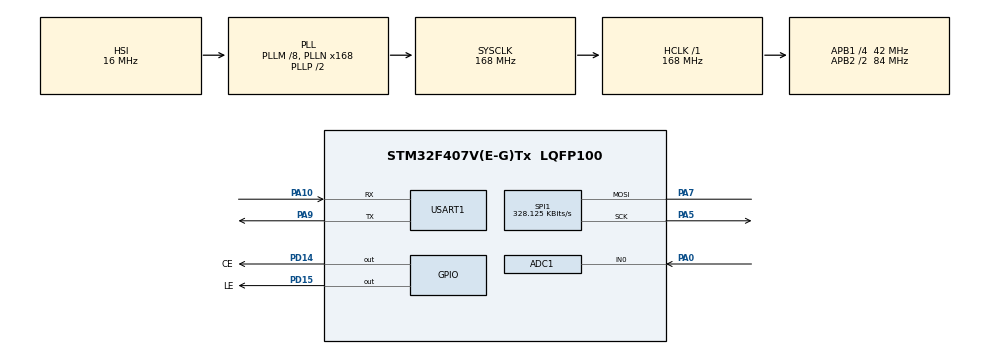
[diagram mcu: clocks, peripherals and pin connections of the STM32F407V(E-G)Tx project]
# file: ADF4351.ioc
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ADC1.Channel-0\#ChannelRegularConversion=ADC_CHANNEL_0
ADC1.ContinuousConvMode=ENABLE
ADC1.DMAContinuousRequests=DISABLE
ADC1.NbrOfConversionFlag=1
ADC1.Rank-0\#ChannelRegularConversion=1
ADC1.SamplingTime-0\#ChannelRegularConversion=ADC_SAMPLETIME_3CYCLES
ADC1.master=1
Dma.ADC1.0.Direction=DMA_PERIPH_TO_MEMORY
Dma.ADC1.0.FIFOMode=DMA_FIFOMODE_DISABLE
Dma.ADC1.0.Instance=DMA2_Stream0
Dma.ADC1.0.MemDataAlignment=DMA_MDATAALIGN_HALFWORD
Dma.ADC1.0.MemInc=DMA_MINC_ENABLE
Dma.ADC1.0.Mode=DMA_NORMAL
Dma.ADC1.0.PeriphDataAlignment=DMA_PDATAALIGN_HALFWORD
Dma.ADC1.0.PeriphInc=DMA_PINC_DISABLE
Dma.ADC1.0.Priority=DMA_PRIORITY_LOW
Dma.Request0=ADC1
Mcu.Family=STM32F4
Mcu.Name=STM32F407V(E-G)Tx
Mcu.Package=LQFP100
NVIC.ADC_IRQn=true\:1\:2\:true\:false\:true\:true\:true\:true
NVIC.DMA2_Stream0_IRQn=true\:0\:0\:false\:false\:true\:false\:true\:true
NVIC.PriorityGroup=NVIC_PRIORITYGROUP_2
NVIC.TIM3_IRQn=true\:1\:1\:true\:false\:true\:true\:true\:true
NVIC.USART1_IRQn=true\:1\:0\:true\:false\:true\:true\:true\:true
PA0-WKUP.Signal=ADCx_IN0
PA10.Mode=Asynchronous
PA10.Signal=USART1_RX
PA13.Mode=Serial_Wire
PA13.Signal=SYS_JTMS-SWDIO
PA14.Mode=Serial_Wire
PA14.Signal=SYS_JTCK-SWCLK
PA5.Mode=Simplex_Bidirectional_Master
PA5.Signal=SPI1_SCK
PA7.Mode=Simplex_Bidirectional_Master
PA7.Signal=SPI1_MOSI
PA9.Mode=Asynchronous
PA9.Signal=USART1_TX
PD14.GPIO_Label=CE
PD14.GPIO_Speed=GPIO_SPEED_FREQ_VERY_HIGH
PD14.Signal=GPIO_Output
PD15.GPIO_Label=LE
PD15.GPIO_Speed=GPIO_SPEED_FREQ_VERY_HIGH
PD15.Signal=GPIO_Output
PH0-OSC_IN.Mode=HSE-External-Oscillator
PH0-OSC_IN.Signal=RCC_OSC_IN
PH1-OSC_OUT.Mode=HSE-External-Oscillator
PH1-OSC_OUT.Signal=RCC_OSC_OUT
ProjectManager.HeapSize=0x200
ProjectManager.StackSize=0x400
ProjectManager.TargetToolchain=MDK-ARM V5.32
RCC.48MHZClocksFreq_Value=84000000
RCC.AHBFreq_Value=168000000
RCC.APB1CLKDivider=RCC_HCLK_DIV4
RCC.APB1Freq_Value=42000000
RCC.APB1TimFreq_Value=84000000
RCC.APB2CLKDivider=RCC_HCLK_DIV2
RCC.APB2Freq_Value=84000000
RCC.APB2TimFreq_Value=168000000
RCC.CortexFreq_Value=168000000
RCC.HCLKFreq_Value=168000000
RCC.HSE_VALUE=25000000
RCC.HSI_VALUE=16000000
RCC.LSE_VALUE=32768
RCC.PLLM=8
RCC.PLLN=168
RCC.SYSCLKFreq_VALUE=168000000
RCC.SYSCLKSource=RCC_SYSCLKSOURCE_PLLCLK
RCC.VCOOutputFreq_Value=336000000
SH.ADCx_IN0.0=ADC1_IN0,IN0
SPI1.BaudRatePrescaler=SPI_BAUDRATEPRESCALER_256
SPI1.CalculateBaudRate=328.125 KBits/s
SPI1.Direction=SPI_DIRECTION_1LINE
SPI1.Mode=SPI_MODE_MASTER
SPI1.VirtualType=VM_MASTER
TIM3.AutoReloadPreload=TIM_AUTORELOAD_PRELOAD_ENABLE
TIM3.Period=49
TIM3.Prescaler=8399
USART1.VirtualMode=VM_ASYNC
VP_TIM3_VS_ClockSourceINT.Mode=Internal
board=custom

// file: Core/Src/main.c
/* USER CODE BEGIN Header */
/**
  ******************************************************************************
  * @file           : main.c
  * @brief          : Main program body
  ******************************************************************************
  * @attention
  *
  * Copyright (c) 2025 STMicroelectronics.
  * All rights reserved.
  *
  * This software is licensed under terms that can be found in the LICENSE file
  * in the root directory of this software component.
  * If no LICENSE file comes with this software, it is provided AS-IS.
  *
  ******************************************************************************
  */
/* USER CODE END Header */
#include "main.h"
#include "adc.h"
#include "dma.h"
#include "spi.h"
#include "tim.h"
#include "usart.h"
#include "gpio.h"

/* USER CODE BEGIN Includes */
#include "ADF4351.h"
#include "stdio.h"
/* USER CODE END Includes */

/* USER CODE BEGIN PTD */
#define ADC_Samples 1
/* USER CODE END PTD */

/* USER CODE BEGIN PV */

uint16_t point;
uint16_t cnt = 0;
float fre_begin=90;
float fre_end=110;

float point_fre = 0;//点频值

uint16_t adc_buffer[ADC_Samples];
uint8_t rx_data;
uint8_t rx_buffer[8];//输入缓存
uint8_t rx_cnt;//输入计数

uint8_t sign = 0;//变频与采样选择
uint8_t mode = 0;//点频与扫频选择

uint8_t state_entered = 0;  // 进入标志，表示是否刚进入状态
uint8_t state_jump = 0;//状态跳转值

float buffer_vol[5];
float peak_vol = 0;
uint8_t vol_cnt=0;

float max_vol=0;
float max_freq;

typedef enum {
    STATE_IDLE,
    STATE_POINT,
    STATE_SCAN,
		STATE_PRINT
} State;

State current_state = STATE_IDLE;
State next_state = STATE_IDLE;

void StateMachine_Update(void)
{
    // 状态跳转逻辑
    switch (current_state)
    {
        case STATE_IDLE:
            if (state_jump == 1)
                next_state = STATE_POINT;
						else if(state_jump == 2)
								next_state = STATE_SCAN;
						else if(state_jump == 3)
								next_state = STATE_PRINT;
            else
                next_state = STATE_IDLE;
            break;

        case STATE_POINT:
            if (state_jump == 0)
                next_state = STATE_IDLE;
            else
                next_state = STATE_POINT;
            break;

        case STATE_SCAN:
            if (state_jump == 0)
                next_state = STATE_IDLE;
            else
                next_state = STATE_SCAN;
            break;
        case STATE_PRINT:
            if (state_jump == 0)
                next_state = STATE_IDLE;
            else
                next_state = STATE_PRINT;
            break;
    }

    // 如果状态切换，清除进入标志
    if (next_state != current_state)
        state_entered = 0;
		current_state = next_state;

    // 状态执行
    switch (current_state)
    {
        case STATE_IDLE:
            if (!state_entered)
            {
                state_entered = 1;
            }
            break;

        case STATE_POINT:
            if (!state_entered)
            {
                state_entered = 1;
                // 进入POINT状态时只执行一次的动作
								ADF4351_Freq_Setting(point_fre);
            }
            // POINT状态中需要反复执行的动作也写这里
            break;

        case STATE_SCAN:
            if (!state_entered)
            {
                state_entered = 1;
                // 进入SCAN状态时只执行一次的动作
								HAL_TIM_Base_Start_IT(&htim3);
            }
            // SCAN状态中循环执行的动作
            break;
				case STATE_PRINT:
						if(!state_entered)
						{
                state_entered = 1;
                // 进入SCAN状态时只执行一次的动作
								max_vol = 0;
								HAL_TIM_Base_Start_IT(&htim3);
            }
    }
}

//串口解码
void Uart_Decode(uint8_t rx_buffer[])
{
	if(rx_buffer[0]=='F'&&rx_buffer[1]=='F')//状态机跳转指令
	{
		state_jump = rx_buffer[2]-48;
	}
	else if(rx_buffer[0]=='F'&&rx_buffer[1]=='D')//数据
	{
		point_fre = (1000*(rx_buffer[2]-48)+100*(rx_buffer[3]-48)+10*(rx_buffer[3]-48)+(rx_buffer[4]-48))/100.0;

	}
}

//串口发送重定义
int fputc(int ch, FILE *f)
{
  HAL_UART_Transmit(&huart1, (uint8_t *)&ch, 1, 0xffff);
  return ch;
}
//扫频范围设置
void Freq_Sweep(float fre_begin, float fre_end)
{
	uint16_t fre_scale;
	fre_scale = fre_end - fre_begin;
	point = 100*fre_scale;
}

void HAL_TIM_PeriodElapsedCallback(TIM_HandleTypeDef *htim)
{
	float freq = 0;
	if(htim == &htim3)
	{
		if(!sign)//为0时设置频率
		{
			sign = !sign;
			freq = fre_begin + 0.01*cnt;
			ADF4351_Freq_Setting(freq);
		}
		else//为1时进行采样，并且更新cnt
		{
			sign = !sign;
			if(cnt == point)
			{
				HAL_TIM_Base_Stop_IT(&htim3);
				cnt = 0;
			}
			else
			{
				cnt = cnt+1;
				HAL_ADC_Start_DMA(&hadc1, (uint32_t*)adc_buffer, ADC_Samples);
			}
		}
	}
}

void HAL_ADC_ConvCpltCallback(ADC_HandleTypeDef *hadc)
{
	if(hadc == &hadc1)
	{
		HAL_ADC_Stop_DMA(&hadc1);
		uint32_t sum = 0;
		float ad8307_v = 0;
		float max_ad8307_dbm = 0;
		for(int i =0; i<ADC_Samples; i++)
		{
			sum = sum +adc_buffer[i];
		}
		ad8307_v = (sum/ADC_Samples*3.3/4096);
		if(ad8307_v>max_vol)
		{
			max_vol =ad8307_v;
			max_ad8307_dbm = max_vol*80.27f-153.32f;
			max_freq = fre_begin + 0.01*cnt - 10.7;
			printf("t3.txt=\"%fMHz\"\xff\xff\xff", max_freq);
			printf("t5.txt=\"%fdBm\"\xff\xff\xff", max_ad8307_dbm);
		}
//		printf("%f\n", ad8307_v);
		//每5个数据找出最大值
	  buffer_vol[vol_cnt] = ad8307_v;
		vol_cnt++;
		if(vol_cnt >= 5)
		{
			float max_val = 0;
        for (int i = 0; i < 5; i++)
        {
            if (buffer_vol[i] > max_val)
                max_val = buffer_vol[i];
        }
				peak_vol = max_val;
				vol_cnt = 0;
				uint8_t result = (uint8_t)((peak_vol-1)*1000);
//				printf("%f\n",peak_vol);
				printf("add s0.id,0,%d\xff\xff\xff", result);
		}
	}
}

void HAL_UART_RxCpltCallback(UART_HandleTypeDef *huart)
{
	if(huart == &huart1)
	{
		if(rx_data == '\n')//指令结束
		{
			rx_cnt = 0;
			Uart_Decode(rx_buffer);
			state_entered = 0;
		}
		else //接收
		{
			rx_buffer[rx_cnt] = rx_data;
			rx_cnt++;
		}
		HAL_UART_Receive_IT(&huart1, &rx_data, 1);
	}
}

/* USER CODE END PV */

void SystemClock_Config(void);

int main(void)
{

  /* MCU Configuration--------------------------------------------------------*/

  /* Reset of all peripherals, Initializes the Flash interface and the Systick. */
  HAL_Init();

  /* Configure the system clock */
  SystemClock_Config();

  /* Initialize all configured peripherals */
  MX_GPIO_Init();
  MX_DMA_Init();
  MX_SPI1_Init();
  MX_USART1_UART_Init();
  MX_TIM3_Init();
  MX_ADC1_Init();
  /* USER CODE BEGIN 2 */
	Freq_Sweep(fre_begin, fre_end);
	ADF4351_Init();
	HAL_UART_Receive_IT(&huart1, &rx_data, 1);

  /* USER CODE END 2 */

  /* Infinite loop */
  while (1)
  {

    /* USER CODE BEGIN 3 */
		HAL_Delay(100);
		StateMachine_Update();
  }
  /* USER CODE END 3 */
}

void SystemClock_Config(void)
{
  RCC_OscInitTypeDef RCC_OscInitStruct = {0};
  RCC_ClkInitTypeDef RCC_ClkInitStruct = {0};

  /** Configure the main internal regulator output voltage
  */
  __HAL_RCC_PWR_CLK_ENABLE();
  __HAL_PWR_VOLTAGESCALING_CONFIG(PWR_REGULATOR_VOLTAGE_SCALE1);

  /** Initializes the RCC Oscillators according to the specified parameters
  * in the RCC_OscInitTypeDef structure.
  */
  RCC_OscInitStruct.OscillatorType = RCC_OSCILLATORTYPE_HSI;
  RCC_OscInitStruct.HSIState = RCC_HSI_ON;
  RCC_OscInitStruct.HSICalibrationValue = RCC_HSICALIBRATION_DEFAULT;
  RCC_OscInitStruct.PLL.PLLState = RCC_PLL_ON;
  RCC_OscInitStruct.PLL.PLLSource = RCC_PLLSOURCE_HSI;
  RCC_OscInitStruct.PLL.PLLM = 8;
  RCC_OscInitStruct.PLL.PLLN = 168;
  RCC_OscInitStruct.PLL.PLLP = RCC_PLLP_DIV2;
  RCC_OscInitStruct.PLL.PLLQ = 4;
  if (HAL_RCC_OscConfig(&RCC_OscInitStruct) != HAL_OK)
  {
    Error_Handler();
  }

  /** Initializes the CPU, AHB and APB buses clocks
  */
  RCC_ClkInitStruct.ClockType = RCC_CLOCKTYPE_HCLK|RCC_CLOCKTYPE_SYSCLK
                              |RCC_CLOCKTYPE_PCLK1|RCC_CLOCKTYPE_PCLK2;
  RCC_ClkInitStruct.SYSCLKSource = RCC_SYSCLKSOURCE_PLLCLK;
  RCC_ClkInitStruct.AHBCLKDivider = RCC_SYSCLK_DIV1;
  RCC_ClkInitStruct.APB1CLKDivider = RCC_HCLK_DIV4;
  RCC_ClkInitStruct.APB2CLKDivider = RCC_HCLK_DIV2;

  if (HAL_RCC_ClockConfig(&RCC_ClkInitStruct, FLASH_LATENCY_5) != HAL_OK)
  {
    Error_Handler();
  }
}

void Error_Handler(void)
{
  __disable_irq();
  while (1)
  {
  }
}
